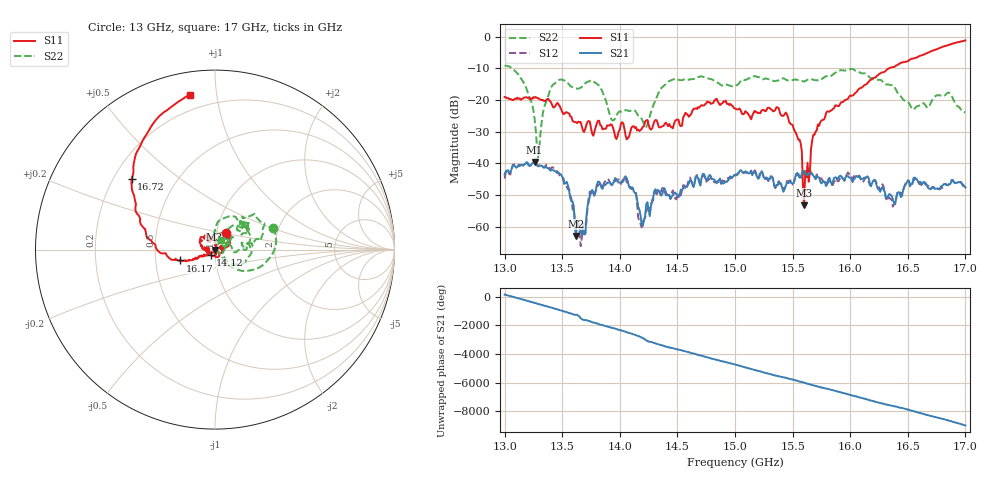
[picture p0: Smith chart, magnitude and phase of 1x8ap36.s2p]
!Keysight Technologies,P9374A,MY57211807,A.19.30.04
!Date: Friday, May 08, 2026 14:36:23
!Correction: S11(C  2-Port  )
!S21(C  2-Port  )
!S12(C  2-Port  )
!S22(C  2-Port  )
!S2P File: Measurements: S11, S21, S12, S22:
# Hz S  dB  R 50
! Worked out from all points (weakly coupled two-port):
!   401 points, 13 GHz to 17 GHz, reference 50 ohm
!   highest |S21| = -39.51 dB at 13.26 GHz (marker M1); lowest = -62.9 dB at 13.62 GHz (marker M2)
!   lowest |S11| = -53.3 dB at 15.6 GHz (marker M3), VSWR 1.00, Z = 49.8 - j0.0695 ohm
!   |S11| at or under -10 dB: start of sweep to 16.33 GHz
!   |S22| runs from -38.1 to -9.2 dB; largest |S21 - S12| = 0.0011
!   S11 on the Smith chart (normalised r, x): 13 GHz: 1.10, +0.21; 14.12 GHz: 0.95, -0.06; 16.17 GHz: 0.67, -0.08; 16.72 GHz: 0.27, +0.34; 17 GHz: 0.12, +0.84
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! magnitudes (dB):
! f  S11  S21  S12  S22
! 13 GHz  -19.0  -43.5  -44.8  -9.2
! 13.17 GHz  -19.1  -40.3  -40.0  -14.7
! 13.26 GHz  -19.3  -39.5  -39.8  -25.9
! 13.3 GHz  -19.7  -40.5  -40.9  -35.6
! 13.38 GHz  -19.6  -41.6  -41.0  -18.5
! 13.49 GHz  -22.9  -43.5  -44.2  -13.5
! 13.62 GHz  -27.0  -62.9  -58.9  -16.3
! 13.67 GHz  -28.3  -62.2  -63.7  -15.8
! 13.81 GHz  -26.5  -45.8  -46.9  -15.1
! 13.94 GHz  -28.6  -46.4  -46.2  -26.5
! 14.12 GHz  -28.3  -48.6  -48.4  -23.1
! 14.19 GHz  -29.0  -59.5  -60.2  -25.9
! 14.34 GHz  -28.5  -48.6  -50.0  -17.4
! 15 GHz  -22.6  -43.6  -43.8  -15.4
! 15.44 GHz  -23.9  -47.1  -47.1  -13.5
! 15.56 GHz  -32.4  -44.4  -44.7  -13.8
! 15.6 GHz  -53.3  -42.3  -42.1  -14.1
! 15.67 GHz  -32.8  -43.2  -43.5  -13.5
! 16.17 GHz  -13.8  -46.2  -46.8  -12.8
! 16.34 GHz  -9.9  -49.6  -50.7  -15.1
! 16.72 GHz  -4.3  -47.7  -47.4  -19.6
! 17 GHz  -1.2  -47.6  -47.8  -23.9
